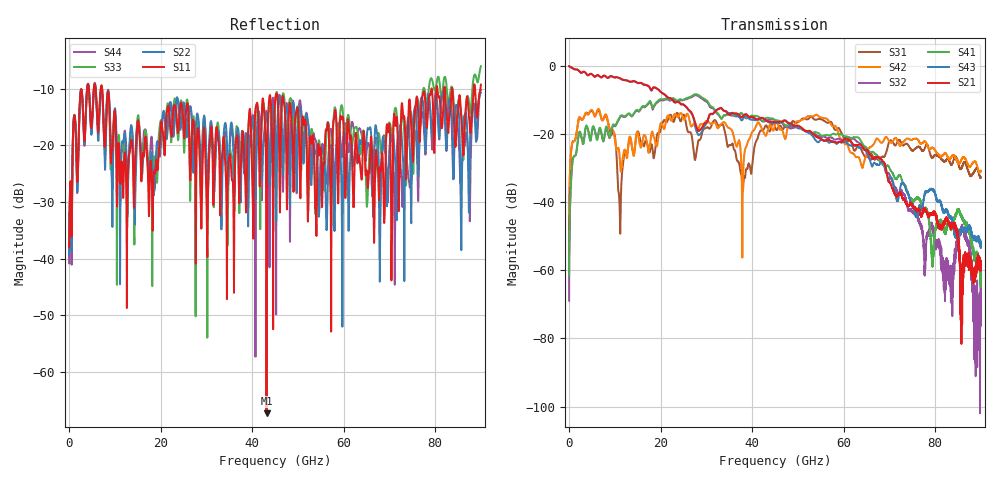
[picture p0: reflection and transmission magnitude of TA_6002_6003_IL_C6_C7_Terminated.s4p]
!Keysight Technologies,N5227B,US51270452,A.15.40.11
!Date: Monday, January 24, 2022 14:44:22
!Correction: S11(C  4-Port  )
!S12(C  4-Port  )
!S13(C  4-Port  )
!S14(C  4-Port  )
!S21(C  4-Port  )
!S22(C  4-Port  )
!S23(C  4-Port  )
!S24(C  4-Port  )
!S31(C  4-Port  )
!S32(C  4-Port  )
!S33(C  4-Port  )
!S34(C  4-Port  )
!S41(C  4-Port  )
!S42(C  4-Port  )
!S43(C  4-Port  )
!S44(C  4-Port  )
!S4P File: Measurements: <S11,S12,S13,S14>,
!<S21,S22,S23,S24>,
!<S31,S32,S33,S34>,
!<S41,S42,S43,S44>:
# Hz S  dB  R 50
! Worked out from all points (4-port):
!   9000 points, 10 MHz to 90 GHz, reference 50 ohm
!   strongest paths, dB at 10 MHz, 22.51 GHz, 45.01 GHz, 67.51 GHz, 90 GHz:
!     S21: 0.0, -9.8, -16.4, -26.6, -59.6
!     S43: -0.1, -9.8, -16.6, -29.0, -52.7
!     S41: -61.3, -9.5, -15.8, -26.7, -61.7
!     S32: -68.9, -9.9, -15.9, -27.0, -75.5
!     S42: -55.1, -15.8, -17.3, -21.5, -30.8
!     S31: -55.4, -15.2, -17.8, -27.5, -32.7
!   lowest |S11| = -67.3 dB at 43.15 GHz (marker M1), VSWR 1.00, Z = 50 + j0.0293 ohm
!   |S11| at or under -10 dB: start of sweep to 3.943 GHz; 7.231 GHz to 79.19 GHz (71.96 GHz wide, 167 % of centre); 83.77 GHz to 88.44 GHz (4.671 GHz wide, 5.42 % of centre)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
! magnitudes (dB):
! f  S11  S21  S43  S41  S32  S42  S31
! 10 MHz  -37.2  0.0  -0.1  -61.3  -68.9  -55.1  -55.4
! 840 MHz  -18.6  -0.7  -0.7  -27.2  -27.3  -22.1  -22.1
! 3.84 GHz  -11.2  -2.4  -2.4  -17.5  -17.7  -13.9  -13.7
! 11.04 GHz  -23.3  -3.5  -3.6  -15.0  -15.3  -26.4  -41.0
! 43.15 GHz  -67.3  -16.0  -16.0  -15.2  -16.1  -20.2  -17.5
! 86.04 GHz  -19.6  -59.0  -48.2  -45.1  -48.2  -26.9  -29.1
! 90 GHz  -9.3  -59.6  -52.7  -61.7  -75.5  -30.8  -32.7
